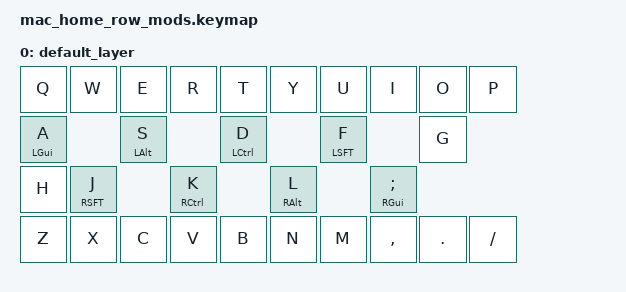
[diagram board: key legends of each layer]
// File: mac_home_row_mods.keymap

/ {
    keymap {
        compatible = "zmk,keymap";

        default_layer {
            bindings = <
                // Row 1: Q W E R T Y U I O P
                &kp Q &kp W &kp E &kp R &kp T &kp Y &kp U &kp I &kp O &kp P

                // Row 2: A S D F G H J K L ;
                &mt LGUI A  &mt LALT S  &mt LCTL D  &mt LSFT F  &kp G
                &kp H  &mt RSFT J  &mt RCTL K  &mt RALT L  &mt RGUI SEMI

                // Row 3: Z X C V B N M , . /
                &kp Z &kp X &kp C &kp V &kp B &kp N &kp M &kp COMMA &kp DOT &kp SLASH
            >;
        };
    };
}; 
